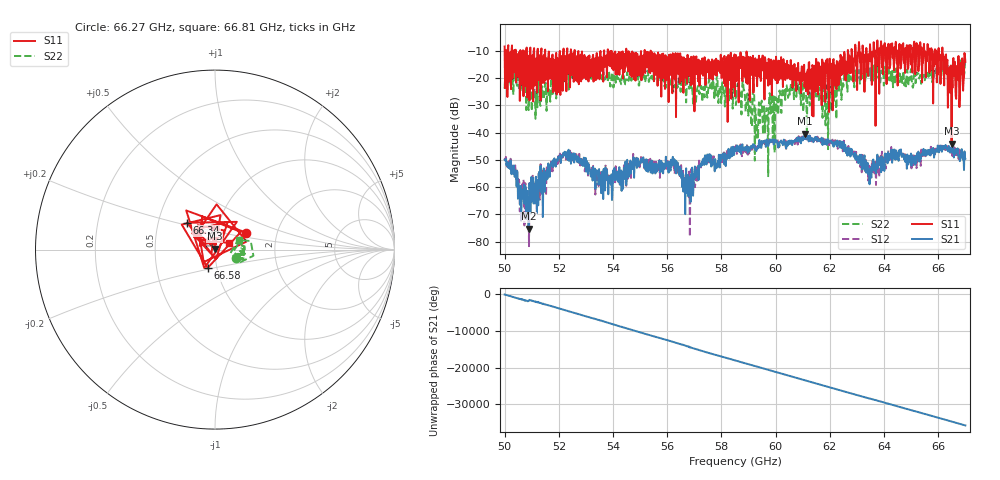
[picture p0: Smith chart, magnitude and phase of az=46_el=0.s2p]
!Created with skrf (http://scikit-rf.org).
# GHz S RI R 50.0
!freq ReS11 ImS11 ReS21 ImS21 ReS12 ImS12 ReS22 ImS22
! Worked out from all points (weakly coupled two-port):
!   1001 points, 50 GHz to 67 GHz, reference 50 ohm
!   highest |S21| = -40.43 dB at 61.08 GHz (marker M1); lowest = -75.3 dB at 50.88 GHz (marker M2)
!   lowest |S11| = -44.1 dB at 66.49 GHz (marker M3), VSWR 1.01, Z = 49.8 + j0.588 ohm
!   |S11| at or under -10 dB: 52.58 GHz to 53.67 GHz (1.087 GHz wide, 2.05 % of centre); 55.39 GHz to 62.66 GHz (7.275 GHz wide, 12.3 % of centre); 66.16 GHz to end of sweep (the widest 3 of 60)
!   |S22| runs from -56.0 to -13.3 dB; largest |S21 - S12| = 0.0022
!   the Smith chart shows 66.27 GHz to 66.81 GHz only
!   S11 on the Smith chart (normalised r, x): 66.27 GHz: 1.39, +0.27; 66.34 GHz: 0.70, +0.22; 66.58 GHz: 0.90, -0.19; 66.81 GHz: 1.17, +0.09
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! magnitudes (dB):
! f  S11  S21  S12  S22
! 50 GHz  -8.5  -50.0  -49.3  -23.9
! 50.88 GHz  -15.5  -75.3  -69.6  -31.8
! 51.97 GHz  -17.5  -48.9  -49.4  -21.6
! 52.84 GHz  -12.5  -52.0  -52.7  -19.6
! 53.91 GHz  -15.2  -58.8  -56.7  -23.1
! 55.68 GHz  -13.6  -51.3  -53.6  -21.3
! 56.92 GHz  -17.8  -52.9  -61.8  -24.0
! 57.26 GHz  -14.9  -52.2  -51.8  -23.1
! 58.5 GHz  -26.7  -46.7  -46.0  -23.6
! 59.32 GHz  -23.0  -45.6  -45.9  -37.6
! 60.34 GHz  -14.7  -43.5  -44.4  -25.6
! 61.08 GHz  -20.4  -40.4  -41.8  -21.6
! 61.34 GHz  -33.7  -42.4  -42.2  -25.7
! 61.88 GHz  -18.2  -44.5  -42.8  -23.5
! 63.5 GHz  -10.3  -53.1  -52.6  -17.1
! 64.18 GHz  -12.0  -50.2  -49.1  -17.3
! 66.27 GHz  -14.1  -44.6  -46.3  -17.9
! 66.34 GHz  -13.3  -45.7  -46.4  -17.3
! 66.49 GHz  -44.1  -46.8  -46.2  -15.5
! 66.58 GHz  -19.2  -49.1  -47.0  -15.7
! 66.81 GHz  -21.2  -49.0  -46.8  -16.9
! 67 GHz  -14.1  -49.6  -48.7  -14.4
